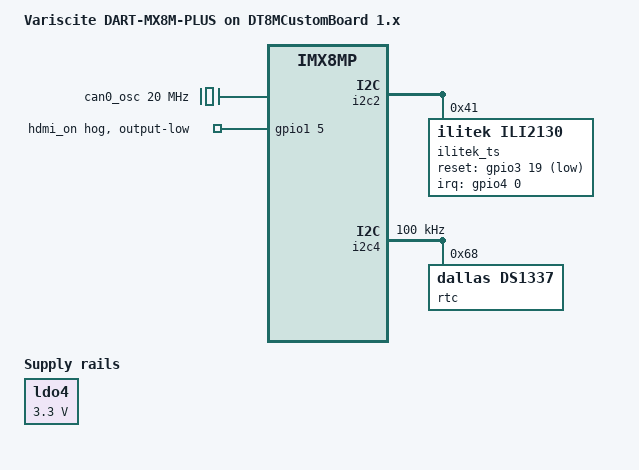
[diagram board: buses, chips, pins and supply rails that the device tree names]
// SPDX-License-Identifier: (GPL-2.0+ OR MIT)
/*
 * Copyright 2019 NXP
 * Copyright 2020-2021 Variscite Ltd.
 */

#include "imx8mp-var-dart-dt8mcustomboard.dts"

/ {
	model = "Variscite DART-MX8M-PLUS on DT8MCustomBoard 1.x";

	// gpio-keys {
	// 	pinctrl-names = "default";
	// 	pinctrl-0 = <&pinctrl_gpio_keys>;

	// 	up {
	// 		gpios = <&gpio4 18 GPIO_ACTIVE_LOW>;
	// 	};

	// 	down {
	// 		gpios = <&gpio4 15 GPIO_ACTIVE_LOW>;
	// 	};

	// 	home {
	// 		gpios = <&gpio4 13 GPIO_ACTIVE_LOW>;
	// 	};

	// 	back {
	// 		gpios = <&gpio4 6 GPIO_ACTIVE_LOW>;
	// 	};
	// };

	gpio-leds {
		status = "disabled"; 
	};

    can0_osc: can0_osc {
        compatible = "fixed-clock";
        #clock-cells = <0>;
        clock-frequency = <20000000>;
    };
};

&i2c2 {
    ov5640_mipi0: ov5640_mipi@3c {
        /* HMI variant: camera not populated; pins are reserved for HPC/USB-C. */
        status = "disabled";

        /* Avoid dtc errors: legacy pinctrl groups are not used in this variant. */
        /delete-property/ pinctrl-names;
        /delete-property/ pinctrl-0;
        /delete-property/ powerdown-gpios;
        /delete-property/ reset-gpios;
    };
	/* Touchscreen driver */
	ilitek_ts: ilitek_ts@41 {
		compatible = "ilitek,ili2130";
		reg = <0x41>;

		pinctrl-names = "default";
		pinctrl-0 = <&pinctrl_captouch>;

		reset-gpios = <&gpio3 19 GPIO_ACTIVE_LOW>;
		interrupt-parent = <&gpio4>;
		interrupts = <0 IRQ_TYPE_LEVEL_LOW>;

		//touchscreen-inverted-y;
		//touchscreen-inverted-x;
		wakeup-source;

		status = "okay";
	};
};

&i2c4 {
    ov5640_mipi1: ov5640_mipi@3c {
        /* HMI variant: camera not populated; pins are reserved for HPC/USB-C. */
        status = "disabled";

        /* Avoid dtc errors: legacy pinctrl groups are not used in this variant. */
        /delete-property/ pinctrl-names;
        /delete-property/ pinctrl-0;
        /delete-property/ powerdown-gpios;
        /delete-property/ reset-gpios;
    };

	/* DS1337 RTC module */
	rtc@68 {
		compatible = "dallas,ds1337";
		reg = <0x68>;
		status = "okay";
	};
};


&ldo4 {
	/* HMI variant: NVCC_SAI1_SAI5 must be 3.3V*/
    regulator-min-microvolt = <3300000>;
    regulator-max-microvolt = <3300000>;
    regulator-boot-on;
    regulator-always-on;
};

&pca6408_1 {
	status = "disabled";
};

&pca6408_2 {
	status = "disabled";
};

&pcie {
	    /* HMI variant: PCIe not used; GPIO4_IO07 is reserved for /HPC4_FAULT. */
    status = "disabled";
    /delete-property/ reset-gpio;
    /delete-property/ pinctrl-names;
    /delete-property/ pinctrl-0;
};

&can0 {
	/delete-property/ microchip,rx-int-gpios;
};

&gpio1 {
	pinctrl-names = "default";
	pinctrl-0 = <&pinctrl_hdmi>;

	hdmi_on_hog {
		gpio-hog;
		gpios = <5 0>;
		output-low;
		line-name = "hdmi_on";
	};
};

&eqos {
	mdio {
		/delete-node/ ethernet-phy@1;
	};
};

&fec {
	/delete-property/ phy-handle;
	status = "disabled";
};

&iomuxc {

    pinctrl_hpc: hpcgrp {
        fsl,pins = <
            MX8MP_IOMUXC_SAI1_RXD2__GPIO4_IO04  0x1c6  /* /HPC3_CONN */
            MX8MP_IOMUXC_SAI1_RXD4__GPIO4_IO06  0x1c6  /* /HPC3_FAULT */
            MX8MP_IOMUXC_SAI1_TXFS__GPIO4_IO10  0x1c6  /* HPC3_EN */

            MX8MP_IOMUXC_SAI1_TXD1__GPIO4_IO13  0x1c6  /* /HPC4_CONN */
            MX8MP_IOMUXC_SAI1_RXD5__GPIO4_IO07  0x1c6  /* /HPC4_FAULT */
            MX8MP_IOMUXC_SAI1_RXD7__GPIO4_IO09  0x1c6  /* HPC4_EN */
        >;
    };
	pinctrl_captouch: captouchgrp {
		fsl,pins = <
			MX8MP_IOMUXC_SAI1_RXD3__GPIO4_IO05 				0x1c6
			MX8MP_IOMUXC_GPIO1_IO14__GPIO1_IO14				0x16
		>;
	};

	pinctrl_can: cangrp {
		fsl,pins = <
			MX8MP_IOMUXC_GPIO1_IO06__GPIO1_IO06				0x1c6
		>;
	};
	pinctrl_hdmi: hdmigrp {
		fsl,pins = <
			MX8MP_IOMUXC_GPIO1_IO05__GPIO1_IO05				0xc0
		>;
	};
};

/* Apply at boot */
&iomuxc {
    pinctrl-0 = <&pinctrl_hog &pinctrl_hpc>;
};

&i2c4 {
    clock-frequency = <100000>;
};
/ {
    gpio-keys {
        /* Disabled in HMI variant: base DT defines these keys via PCA(L)6408 expander,
         * but HMI spec does not include that expander or these keys.
         */
        status = "disabled";
    };
};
